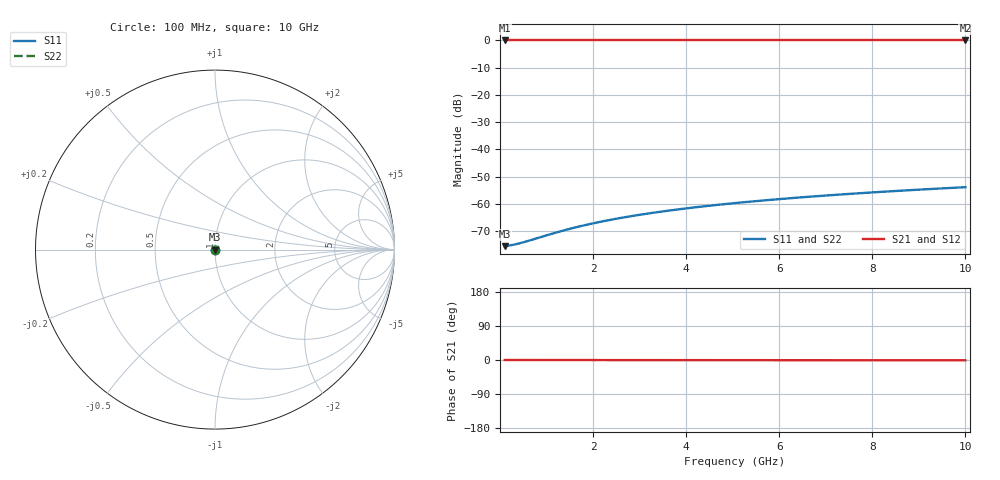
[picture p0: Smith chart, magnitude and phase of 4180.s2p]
# Hz S RI R 50.00
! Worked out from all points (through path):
!   100 points, 100 MHz to 10 GHz, reference 50 ohm
!   highest |S21| = 0.00 dB at 100 MHz (marker M1); lowest = 0.0 dB at 10 GHz (marker M2)
!   lowest |S11| = -75.5 dB at 100 MHz (marker M3), VSWR 1.00, Z = 50 + j0.00202 ohm
!   |S11| at or under -10 dB: start of sweep to end of sweep
!   |S22| runs from -75.5 to -53.8 dB; largest |S21 - S12| = 0
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1e8  0.000167 2.02e-05  0.9998 -0.000139  0.9998 -0.000139  0.000167 2.02e-05
2e8  0.000168 4.05e-05  0.9998 -0.000278  0.9998 -0.000278  0.000168 4.05e-05
3e8  0.000169 6.07e-05  0.9998 -0.000417  0.9998 -0.000417  0.000169 6.07e-05
4e8  0.000169 8.09e-05  0.9998 -0.000555  0.9998 -0.000555  0.000169 8.09e-05
6e8  0.00017 0.000121  0.9998 -0.000833  0.9998 -0.000833  0.00017 0.000121
1e9  0.000172 0.000202  0.9998 -0.00139  0.9998 -0.00139  0.000172 0.000202
1.3e9  0.000173 0.000263  0.9998 -0.00181  0.9998 -0.00181  0.000173 0.000263
1.5e9  0.000174 0.000303  0.9998 -0.00208  0.9998 -0.00208  0.000174 0.000303
1.8e9  0.000175 0.000364  0.9998 -0.0025  0.9998 -0.0025  0.000175 0.000364
2.1e9  0.000175 0.000425  0.9998 -0.00292  0.9998 -0.00292  0.000175 0.000425
2.5e9  0.000177 0.000506  0.9998 -0.00347  0.9998 -0.00347  0.000177 0.000506
2.9e9  0.000178 0.000586  0.9998 -0.00403  0.9998 -0.00403  0.000178 0.000586
3.4e9  0.00018 0.000688  0.9998 -0.00472  0.9998 -0.00472  0.00018 0.000688
3.8e9  0.000181 0.000768  0.9998 -0.00528  0.9998 -0.00528  0.000181 0.000768
4.2e9  0.000182 0.000849  0.9998 -0.00583  0.9998 -0.00583  0.000182 0.000849
4.6e9  0.000184 0.00093  0.9998 -0.00639  0.9998 -0.00639  0.000184 0.00093
5.1e9  0.000186 0.00103  0.9998 -0.00709  0.9998 -0.00709  0.000186 0.00103
5.9e9  0.000189 0.00119  0.9998 -0.0082  0.9998 -0.0082  0.000189 0.00119
6.7e9  0.000193 0.00135  0.9998 -0.00931  0.9998 -0.00931  0.000193 0.00135
7.5e9  0.000197 0.00152  0.9998 -0.0104  0.9998 -0.0104  0.000197 0.00152
8.4e9  0.000202 0.0017  0.9997 -0.0117  0.9997 -0.0117  0.000202 0.0017
1e10  0.000212 0.00202  0.9997 -0.0139  0.9997 -0.0139  0.000212 0.00202
